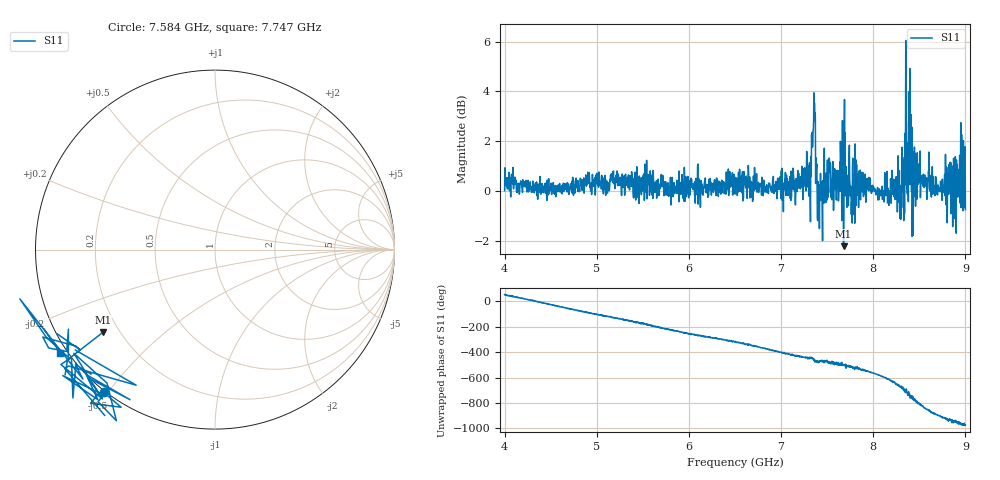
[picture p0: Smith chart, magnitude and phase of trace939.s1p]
! Created with skrf 1.8.0 (http://scikit-rf.org).
# Hz S RI R 50.0
!freq ReS11 ImS11
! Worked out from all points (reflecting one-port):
!   1601 points, 4 GHz to 9 GHz, reference 50 ohm
!   lowest |S11| = -2.2 dB at 7.678 GHz (marker M1), VSWR 7.95, Z = 6.96 - j16.2 ohm
!   phase of S11 starts at 54 deg and turns -1026 deg over the sweep
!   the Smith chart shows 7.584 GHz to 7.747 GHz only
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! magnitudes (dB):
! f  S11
! 4 GHz  0.0
! 4.625 GHz  -0.1
! 5.25 GHz  0.3
! 5.875 GHz  0.3
! 6.5 GHz  0.3
! 7.125 GHz  0.1
! 7.294 GHz  0.2
! 7.316 GHz  -0.3
! 7.347 GHz  2.4
! 7.366 GHz  3.0
! 7.4 GHz  0.4
! 7.416 GHz  -1.5
! 7.512 GHz  0.3
! 7.578 GHz  0.2
! 7.678 GHz  -2.2
! 7.75 GHz  -0.2
! 7.775 GHz  1.0
! 7.828 GHz  0.7
! 8.284 GHz  0.8
! 8.316 GHz  0.0
! 8.334 GHz  1.3
! 8.356 GHz  2.0
! 8.375 GHz  1.9
! 8.447 GHz  1.8
! 8.459 GHz  -0.6
! 8.875 GHz  0.8
! 8.956 GHz  0.4
! 9 GHz  -0.7
